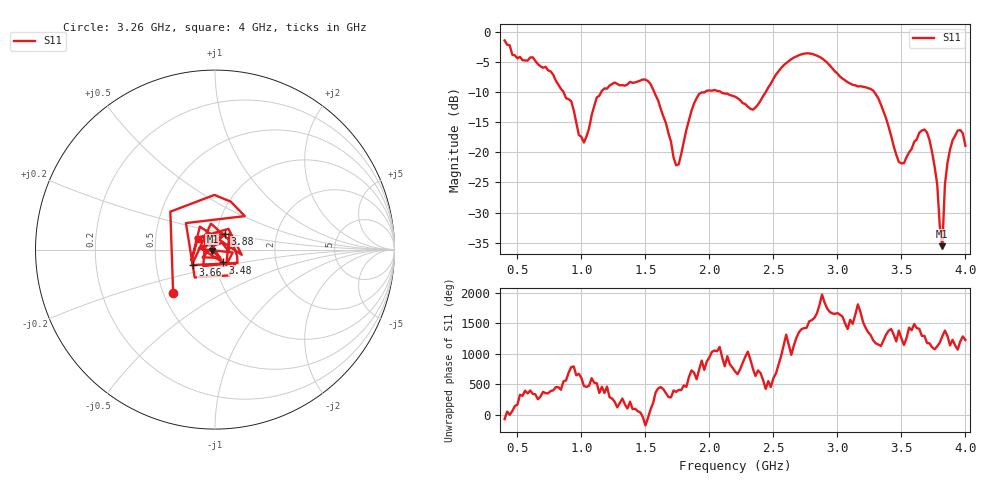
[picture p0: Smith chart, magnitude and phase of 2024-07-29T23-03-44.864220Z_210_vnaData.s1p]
!Created with skrf (http://scikit-rf.org).
# Hz S RI R 50.0
!freq ReS11 ImS11
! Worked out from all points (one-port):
!   181 points, 400 MHz to 4 GHz, reference 50 ohm
!   lowest |S11| = -35.6 dB at 3.82 GHz (marker M1), VSWR 1.03, Z = 48.6 - j0.772 ohm
!   |S11| at or under -10 dB: 1.57 GHz to 1.962 GHz (392.3 MHz wide, 22.2 % of centre); 2.092 GHz to 2.44 GHz (347.7 MHz wide, 15.3 % of centre); 3.289 GHz to end of sweep (the widest 3 of 4)
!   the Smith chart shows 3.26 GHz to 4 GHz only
!   S11 on the Smith chart (normalised r, x): 3.26 GHz: 0.56, -0.31; 3.48 GHz: 1.08, -0.16; 3.66 GHz: 0.77, -0.14; 3.88 GHz: 1.10, +0.20; 4 GHz: 0.82, +0.10
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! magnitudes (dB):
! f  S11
! 400 MHz  -1.4
! 860 MHz  -9.9
! 920 MHz  -11.5
! 1.02 GHz  -18.4
! 1.12 GHz  -10.9
! 1.3 GHz  -8.8
! 1.54 GHz  -8.6
! 1.76 GHz  -22.0
! 1.86 GHz  -13.1
! 1.92 GHz  -10.3
! 2.2 GHz  -10.7
! 2.34 GHz  -12.9
! 2.66 GHz  -4.2
! 2.86 GHz  -4.1
! 3.1 GHz  -8.5
! 3.26 GHz  -9.5
! 3.34 GHz  -12.1
! 3.48 GHz  -21.6
! 3.56 GHz  -20.0
! 3.66 GHz  -16.4
! 3.74 GHz  -20.0
! 3.78 GHz  -25.3
! 3.8 GHz  -32.3
! 3.82 GHz  -35.6
! 3.84 GHz  -25.4
! 3.88 GHz  -19.5
! 3.94 GHz  -16.4
! 4 GHz  -18.9
